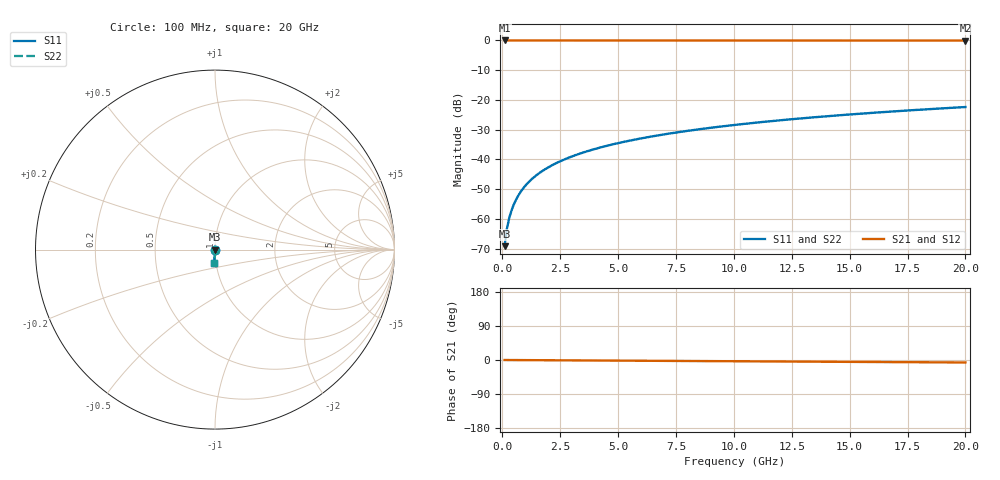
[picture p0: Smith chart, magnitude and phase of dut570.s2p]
! Touchstone file exported from HFSS 2026.1.0
!  File:  C:/ffzhzh/LocalFiles/Ansys_Project_Files/temp_train_TSV_570_1783024699_4048.aedt
!  Generated:  04:39:43 AM Jul  3, 2026
!  Design:  TSV
!  Project:  temp_train_TSV_570_1783024699_4048
! Variables:
!  h_bsmrdl = 2um
!  h_ox = 20um
!  h_rdl = 5um
!  h_sub = 50.91um
!  h_tmrdl = 5um
!  h_tsv = 50.91um
!  h_via = 3um
!  l_bsmrdl = 300um
!  l_sub = 423.78um
!  l_tmrdl = 200um
!  m_sub = 200um
!  pitch = 28.07um
!  r_tsv = 11.89um
!  s_tmrdl = 10um
!  w_bsmrdl = 18um
!  w_sub = 500um
!  w_tmrdl = 12um
!  x_tsv_center1 = 206um
!  x_tsv_center2 = 524um
!  x_tsv_center3 = 736um
!  x_tsv_center4 = 1054um
!  x_tsv_center5 = 1266um
!  x_tsv_center6 = 1584um
# GHz S MA R 50.000000
! Terminal data exported
! Port[1] = TSV1_1_T1
! Port[2] = TSV1_1_T2
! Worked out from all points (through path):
!   200 points, 100 MHz to 20 GHz, reference 50 ohm
!   highest |S21| = 0.00 dB at 100 MHz (marker M1); lowest = 0.0 dB at 20 GHz (marker M2)
!   lowest |S11| = -69.1 dB at 100 MHz (marker M3), VSWR 1.00, Z = 50 - j0.034 ohm
!   |S11| at or under -10 dB: start of sweep to end of sweep
!   |S22| runs from -69.1 to -22.4 dB; largest |S21 - S12| = 4e-15
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0.1  0.0003498 -76.1  0.9999 -0.0  0.9999 -0.0  0.0003498 -76.1
! Gamma 0 0 0 0
! Port Impedance 50 0 50 0
0.2  0.0006904 -81.8  0.9999 -0.1  0.9999 -0.1  0.0006904 -81.8
0.3  0.001041 -83.5  0.9999 -0.1  0.9999 -0.1  0.001041 -83.5
0.4  0.0014 -84.2  0.9999 -0.1  0.9999 -0.1  0.0014 -84.2
0.5  0.001766 -84.7  0.9998 -0.2  0.9998 -0.2  0.001766 -84.7
0.7  0.002511 -85.4  0.9998 -0.2  0.9998 -0.2  0.002511 -85.4
0.8  0.002887 -85.8  0.9998 -0.3  0.9998 -0.3  0.002887 -85.8
1  0.003644 -86.3  0.9997 -0.3  0.9997 -0.3  0.003644 -86.3
1.2  0.004402 -86.8  0.9997 -0.4  0.9997 -0.4  0.004402 -86.8
1.4  0.00516 -87.2  0.9997 -0.5  0.9997 -0.5  0.00516 -87.2
1.7  0.006297 -87.7  0.9997 -0.6  0.9997 -0.6  0.006297 -87.7
2  0.007433 -88.0  0.9996 -0.7  0.9996 -0.7  0.007433 -88.0
2.7  0.01009 -88.7  0.9996 -0.9  0.9996 -0.9  0.01009 -88.7
3.5  0.01312 -89.3  0.9995 -1.2  0.9995 -1.2  0.01312 -89.3
4.2  0.01578 -89.7  0.9994 -1.4  0.9994 -1.4  0.01578 -89.7
5  0.01883 -90.1  0.9993 -1.7  0.9993 -1.7  0.01883 -90.1
6.8  0.0257 -90.9  0.999 -2.2  0.999 -2.2  0.0257 -90.9
8.3  0.03144 -91.5  0.9988 -2.7  0.9988 -2.7  0.03144 -91.5
10.1  0.03833 -92.2  0.9985 -3.3  0.9985 -3.3  0.03833 -92.2
13.4  0.05094 -93.4  0.9978 -4.4  0.9978 -4.4  0.05094 -93.4
16.7  0.06354 -94.6  0.997 -5.5  0.997 -5.5  0.06354 -94.6
20  0.0761 -95.7  0.996 -6.6  0.996 -6.6  0.0761 -95.7
